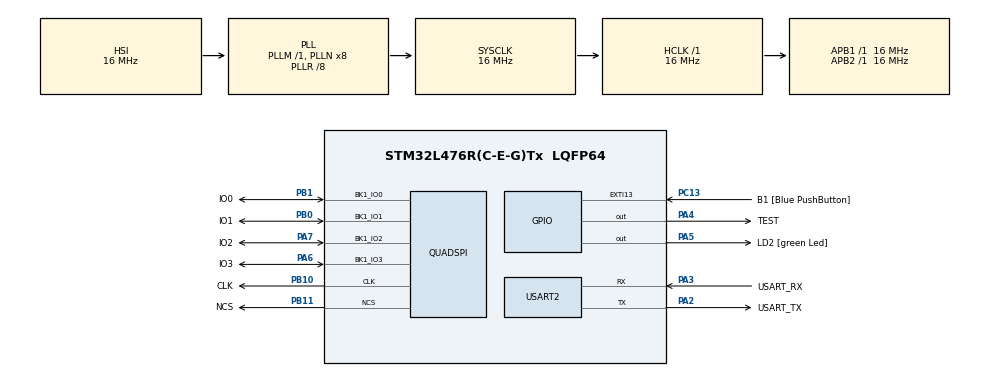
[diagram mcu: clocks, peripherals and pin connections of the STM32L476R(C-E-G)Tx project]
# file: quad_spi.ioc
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Mcu.Family=STM32L4
Mcu.Name=STM32L476R(C-E-G)Tx
Mcu.Package=LQFP64
NVIC.PriorityGroup=NVIC_PRIORITYGROUP_4
PA13\ (JTMS-SWDIO).GPIO_Label=TMS
PA13\ (JTMS-SWDIO).Mode=Serial_Wire
PA13\ (JTMS-SWDIO).Signal=SYS_JTMS-SWDIO
PA14\ (JTCK-SWCLK).GPIO_Label=TCK
PA14\ (JTCK-SWCLK).Mode=Serial_Wire
PA14\ (JTCK-SWCLK).Signal=SYS_JTCK-SWCLK
PA2.GPIO_Label=USART_TX
PA2.GPIO_Mode=GPIO_MODE_AF_PP
PA2.GPIO_PuPd=GPIO_NOPULL
PA2.GPIO_Speed=GPIO_SPEED_FREQ_VERY_HIGH
PA2.Mode=Asynchronous
PA2.Signal=USART2_TX
PA3.GPIO_Label=USART_RX
PA3.GPIO_Mode=GPIO_MODE_AF_PP
PA3.GPIO_PuPd=GPIO_NOPULL
PA3.GPIO_Speed=GPIO_SPEED_FREQ_VERY_HIGH
PA3.Mode=Asynchronous
PA3.Signal=USART2_RX
PA4.GPIO_Label=TEST
PA4.Signal=GPIO_Output
PA5.GPIO_Label=LD2 [green Led]
PA5.GPIO_ModeDefaultOutputPP=GPIO_MODE_OUTPUT_PP
PA5.GPIO_PuPd=GPIO_NOPULL
PA5.GPIO_Speed=GPIO_SPEED_FREQ_LOW
PA5.Signal=GPIO_Output
PA6.GPIO_Label=IO3
PA6.Mode=Single Bank
PA6.Signal=QUADSPI_BK1_IO3
PA7.GPIO_Label=IO2
PA7.Mode=Single Bank
PA7.Signal=QUADSPI_BK1_IO2
PB0.GPIO_Label=IO1
PB0.Mode=Single Bank
PB0.Signal=QUADSPI_BK1_IO1
PB1.GPIO_Label=IO0
PB1.Mode=Single Bank
PB1.Signal=QUADSPI_BK1_IO0
PB10.GPIO_Label=CLK
PB10.Mode=Single Bank
PB10.Signal=QUADSPI_CLK
PB11.GPIO_Label=NCS
PB11.Mode=Single Bank
PB11.Signal=QUADSPI_NCS
PB3\ (JTDO-TRACESWO).GPIO_Label=SWO
PB3\ (JTDO-TRACESWO).Signal=SYS_JTDO-SWO
PC13.GPIO_Label=B1 [Blue PushButton]
PC13.GPIO_ModeDefaultEXTI=GPIO_MODE_IT_FALLING
PC13.GPIO_PuPd=GPIO_NOPULL
PC13.Signal=GPXTI13
PC14-OSC32_IN\ (PC14).Mode=LSE-External-Oscillator
PC14-OSC32_IN\ (PC14).Signal=RCC_OSC32_IN
PC15-OSC32_OUT\ (PC15).Mode=LSE-External-Oscillator
PC15-OSC32_OUT\ (PC15).Signal=RCC_OSC32_OUT
PH0-OSC_IN\ (PH0).Signal=RCC_OSC_IN
PH1-OSC_OUT\ (PH1).Signal=RCC_OSC_OUT
ProjectManager.HeapSize=0x200
ProjectManager.StackSize=0x400
ProjectManager.TargetToolchain=STM32CubeIDE
RCC.ADCFreq_Value=64000000
RCC.AHBFreq_Value=16000000
RCC.APB1Freq_Value=16000000
RCC.APB1TimFreq_Value=16000000
RCC.APB2Freq_Value=16000000
RCC.APB2TimFreq_Value=16000000
RCC.CortexFreq_Value=16000000
RCC.HCLKFreq_Value=16000000
RCC.HSE_VALUE=8000000
RCC.HSI_VALUE=16000000
RCC.MSI_VALUE=4000000
RCC.PLLR=RCC_PLLR_DIV8
RCC.PLLSourceVirtual=RCC_PLLSOURCE_HSI
RCC.PREFETCH_ENABLE=1
RCC.SYSCLKFreq_VALUE=16000000
RCC.SYSCLKSource=RCC_SYSCLKSOURCE_PLLCLK
RCC.USBFreq_Value=64000000
RCC.VCOOutputFreq_Value=128000000
USART2.VirtualMode-Asynchronous=VM_ASYNC
board=NUCLEO-L476RG

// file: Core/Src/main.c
/* USER CODE BEGIN Header */
/**
 ******************************************************************************
 * @file           : main.c
 * @brief          : Main program body
 ******************************************************************************
 * @attention
 *
 * Copyright (c) 2024 STMicroelectronics.
 * All rights reserved.
 *
 * This software is licensed under terms that can be found in the LICENSE file
 * in the root directory of this software component.
 * If no LICENSE file comes with this software, it is provided AS-IS.
 *
 ******************************************************************************
 */
/* USER CODE END Header */
#include "main.h"
#include "quadspi.h"
#include "usart.h"
#include "gpio.h"

/* USER CODE BEGIN Includes */
#include "w25q_mem.h"
#include "datalog.h"
/* USER CODE END Includes */

void SystemClock_Config(void);

int main(void) {

  /* USER CODE BEGIN 1 */
  BOOL clearMemoryStart;
  BOOL clearDatalogFailure;
  BOOL dataLoggingTest;
  BOOL dataLoggingTimeStampRecorded;
  UINT8 clearDatalogPercentDone;
  uint8_t testBuf[1024];
  UINT32 address;
  int bufferOffset;
  int i;
  clearMemoryStart = FALSE;
  dataLoggingTest = FALSE;

  /* USER CODE END 1 */

  /* MCU Configuration--------------------------------------------------------*/

  /* Reset of all peripherals, Initializes the Flash interface and the Systick. */
  HAL_Init();

  /* Configure the system clock */
  SystemClock_Config();

  /* Initialize all configured peripherals */
  MX_GPIO_Init();
  MX_QUADSPI_Init();
  MX_USART2_UART_Init();
  /* USER CODE BEGIN 2 */
  W25Q_Init();		 // init the chip
  datalog_Initialize();

  //W25Q_EraseChip();
  //clearMemoryStart = TRUE;
  //dataLoggingTest = TRUE;
  __NOP();
  /* USER CODE END 2 */

  /* Infinite loop */
  while (1) {
    if (clearMemoryStart == TRUE) {
      clearMemoryStart = FALSE;
      datalog_ClearMemoryStart();
    }
    datalog_ClearMemoryIteration();
    if (datalog_ClearMemoryBusy(&clearDatalogPercentDone,
        &clearDatalogFailure)) {
      if (clearDatalogFailure) {
        HAL_Delay(10);
      } else {
        HAL_Delay(1);
      }
    } else {
      if (dataLoggingTest == TRUE) {
        //datalog_AddMeasurementDCRecord(3.14, 1732493344000, TRUE, FALSE, FALSE);
        HAL_Delay(1000);
        bufferOffset = 0;
        address = 0;
        //for (i = 0; i < 4; i++)
        {
          W25Q_WakeUP();
          W25Q_ReadRaw((testBuf+bufferOffset), 256, (address+bufferOffset));
          W25Q_Sleep();
          //bufferOffset += MEM_PAGE_SIZE;
        }
      }
      __NOP();
    }
  }
}

void SystemClock_Config(void) {
  RCC_OscInitTypeDef RCC_OscInitStruct = { 0 };
  RCC_ClkInitTypeDef RCC_ClkInitStruct = { 0 };

  /** Configure the main internal regulator output voltage
   */
  if (HAL_PWREx_ControlVoltageScaling(PWR_REGULATOR_VOLTAGE_SCALE1) != HAL_OK) {
    Error_Handler();
  }

  /** Initializes the RCC Oscillators according to the specified parameters
   * in the RCC_OscInitTypeDef structure.
   */
  RCC_OscInitStruct.OscillatorType = RCC_OSCILLATORTYPE_HSI;
  RCC_OscInitStruct.HSIState = RCC_HSI_ON;
  RCC_OscInitStruct.HSICalibrationValue = RCC_HSICALIBRATION_DEFAULT;
  RCC_OscInitStruct.PLL.PLLState = RCC_PLL_ON;
  RCC_OscInitStruct.PLL.PLLSource = RCC_PLLSOURCE_HSI;
  RCC_OscInitStruct.PLL.PLLM = 1;
  RCC_OscInitStruct.PLL.PLLN = 8;
  RCC_OscInitStruct.PLL.PLLP = RCC_PLLP_DIV7;
  RCC_OscInitStruct.PLL.PLLQ = RCC_PLLQ_DIV2;
  RCC_OscInitStruct.PLL.PLLR = RCC_PLLR_DIV8;
  if (HAL_RCC_OscConfig(&RCC_OscInitStruct) != HAL_OK) {
    Error_Handler();
  }

  /** Initializes the CPU, AHB and APB buses clocks
   */
  RCC_ClkInitStruct.ClockType = RCC_CLOCKTYPE_HCLK | RCC_CLOCKTYPE_SYSCLK
      | RCC_CLOCKTYPE_PCLK1 | RCC_CLOCKTYPE_PCLK2;
  RCC_ClkInitStruct.SYSCLKSource = RCC_SYSCLKSOURCE_PLLCLK;
  RCC_ClkInitStruct.AHBCLKDivider = RCC_SYSCLK_DIV1;
  RCC_ClkInitStruct.APB1CLKDivider = RCC_HCLK_DIV1;
  RCC_ClkInitStruct.APB2CLKDivider = RCC_HCLK_DIV1;

  if (HAL_RCC_ClockConfig(&RCC_ClkInitStruct, FLASH_LATENCY_0) != HAL_OK) {
    Error_Handler();
  }
}

void Error_Handler(void) {
  __disable_irq();
  while (1) {
  }
}
